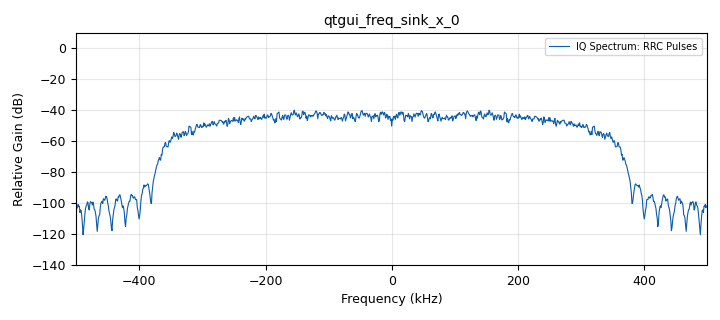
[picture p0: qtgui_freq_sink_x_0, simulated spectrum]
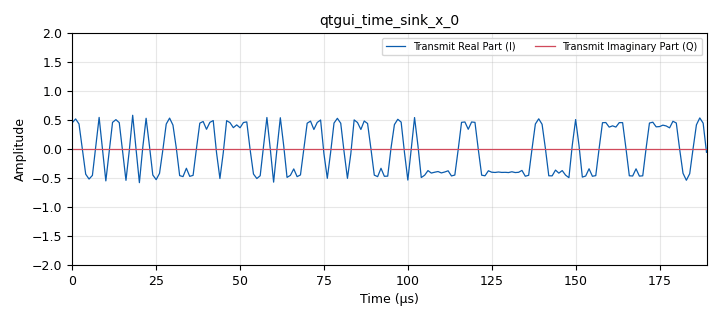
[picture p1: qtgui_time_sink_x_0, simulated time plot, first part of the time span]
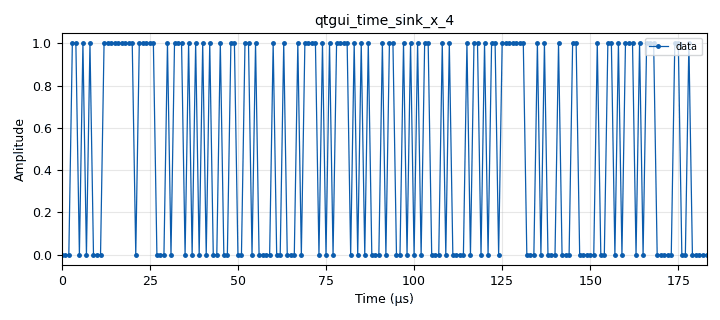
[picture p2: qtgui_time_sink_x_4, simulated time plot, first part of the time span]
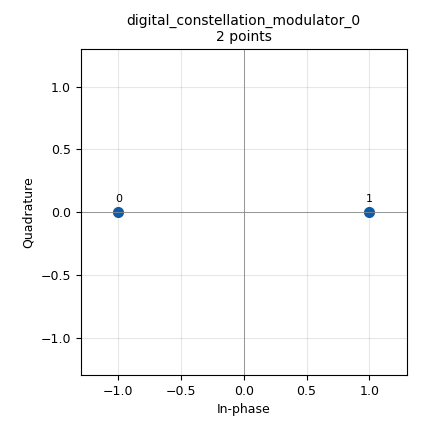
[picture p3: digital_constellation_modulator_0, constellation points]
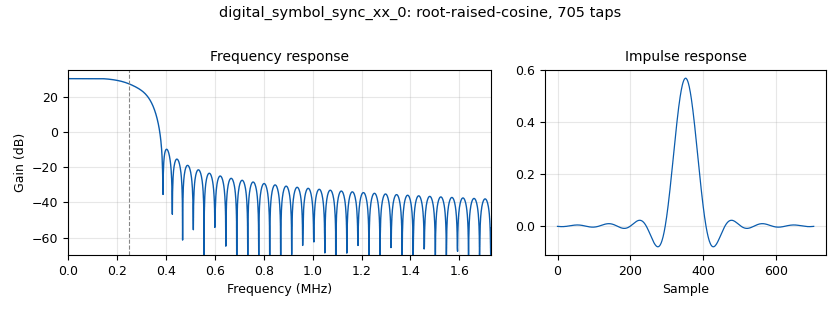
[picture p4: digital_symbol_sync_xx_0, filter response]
options:
  parameters:
    author: Alex Brisson
    generate_options: qt_gui
    id: usrp_coherent
    output_language: python
    title: ver 1.0
  states: {}

blocks:
- name: alpha
  id: variable
  parameters:
    comment: |-
      excess bw- rrc filtering
      - global
    value: '0.5'
  states: {}
- name: center_freq
  id: variable
  parameters:
    comment: |-
      transmit and receive 
      carrier frequency - global
    value: 10e6
  states: {}
- name: constellation
  id: variable_constellation
  parameters:
    comment: Define the modulation format
    const_points: '[-1-1j, -1+1j, 1+1j, 1-1j]'
    dims: '1'
    normalization: digital.constellation.AMPLITUDE_NORMALIZATION
    precision: '8'
    rot_sym: '4'
    sym_map: '[0, 1, 3, 2]'
    type: calcdist
  states: {state: disabled}
- name: constellation
  id: variable_constellation
  parameters:
    precision: '8'
    type: bpsk
  states: {}
- name: constellation
  id: variable_constellation
  parameters:
    precision: '8'
    type: 8psk
  states: {state: disabled}
- name: constellation
  id: variable_constellation
  parameters:
    precision: '8'
    type: 16qam
  states: {state: disabled}
- name: costaslpbw
  id: variable_qtgui_range
  parameters:
    start: '.01'
    step: '.01'
    stop: '1'
    value: '62.8e-3'
  states: {}
- name: dampfact
  id: variable_qtgui_range
  parameters:
    start: '.01'
    step: '.01'
    stop: '5'
    value: '1'
  states: {}
- name: loopbw
  id: variable_qtgui_range
  parameters:
    start: '0.001'
    step: '.01'
    stop: '5'
    value: '.045'
  states: {}
- name: maxdev
  id: variable_qtgui_range
  parameters:
    start: '.01'
    step: '.01'
    stop: '5'
    value: '1.5'
  states: {}
- name: nfilts
  id: variable
  parameters:
    value: '32'
  states: {}
- name: offset
  id: variable_qtgui_range
  parameters:
    comment: Manual frequency slider
    gui_hint: 0,0,1,2
    start: '-500e3'
    step: '100'
    stop: 500e3
    value: '0'
  states: {}
- name: rrc_taps
  id: variable_rrc_filter_taps
  parameters:
    alpha: alpha
    gain: nfilts
    ntaps: 11*sps*nfilts
    samp_rate: samp_rate*nfilts
    sym_rate: samp_rate/sps
  states: {}
- name: samp_rate
  id: variable
  parameters:
    comment: |-
      baseband sample 
      rate - global
    value: 1e6
  states: {}
- name: sps
  id: variable
  parameters:
    comment: power of 2 - global
    value: '2'
  states: {}
- name: tedgain
  id: variable_qtgui_range
  parameters:
    start: '0'
    step: '.01'
    stop: '5'
    value: '1'
  states: {}
- name: analog_agc_xx_0
  id: analog_agc_xx
  parameters:
    comment: |-
      Automatic Gain Control- 
      sets and maintains the 
      reference power level.
    gain: '1.0'
    max_gain: '8'
    rate: '1e-4'
    reference: '.95'
    type: complex
  states: {}
- name: analog_random_uniform_source_x_0
  id: analog_random_uniform_source_x
  parameters:
    comment: |-
      Generates random integers
      packed into bytes
    maximum: 'constellation.arity() '
    minimum: '0'
    seed: '0'
    type: byte
  states: {}
- name: analog_sig_source_x_0
  id: analog_sig_source_x
  parameters:
    amp: '1'
    comment: |-
      Manual Coarse Freq Correction- 
      use slider to multiply received 
      signal by a complex exponential.
    freq: offset
    offset: '0'
    phase: '0'
    samp_rate: samp_rate
    type: complex
    waveform: analog.GR_COS_WAVE
  states: {state: disabled}
- name: blocks_char_to_float_0
  id: blocks_char_to_float
  parameters:
    scale: '1'
  states: {}
- name: blocks_multiply_const_vxx_0
  id: blocks_multiply_const_vxx
  parameters:
    comment: |-
      constant multiplier to 
      maintain usrp input bounds.
    const: '0.4'
    type: complex
  states: {}
- name: blocks_multiply_xx_0
  id: blocks_multiply_xx
  parameters:
    type: complex
  states: {state: disabled}
- name: blocks_unpacked_to_packed_xx_0
  id: blocks_unpacked_to_packed_xx
  parameters:
    bits_per_chunk: int(log2(constellation.arity()))
    comment: |-
      Each integer from the RUS is converted into a byte. 
      This block packs the last bits in each integer byte 
      into a new "packed" byte to be transmitted.
    endianness: gr.GR_MSB_FIRST
    type: byte
  states: {}
- name: compensatedeye
  id: qtgui_tab_widget
  parameters:
    gui_hint: 2,0,1,1
    label0: Compensated Eye
    num_tabs: '1'
  states: {}
- name: compensatedtime
  id: qtgui_tab_widget
  parameters:
    gui_hint: 2,1,1,1
    label0: Time Domain After Fine DSP Compensation
    num_tabs: '1'
  states: {}
- name: diagnostics
  id: qtgui_tab_widget
  parameters:
    gui_hint: 3,1,1,1
    label0: FLL Frequency
    label1: FLL Phase
    label2: FLL Error Signal
    label3: Clock Recv Error Signal
    label4: Clock Recv Timing
    label5: 'Costas Frequency '
    label6: Costas Phase
    label7: Costas Error
    num_tabs: '8'
  states: {}
- name: digital_constellation_modulator_0
  id: digital_constellation_modulator
  parameters:
    comment: |-
      mapping of incoming data
      to complex numbers. This block applies 
      an RRC transmit filter to minimize ISI 
      and efficiently allocate spectrum for our pulses.
    constellation: constellation
    differential: 'False'
    excess_bw: alpha
    samples_per_symbol: sps
  states: {}
- name: digital_costas_loop_cc_0
  id: digital_costas_loop_cc
  parameters:
    comment: |-
      Fine Phase/Frequency error 
      estimate and correction
    order: constellation.arity()
    w: costaslpbw
  states: {}
- name: digital_fll_band_edge_cc_0
  id: digital_fll_band_edge_cc
  parameters:
    comment: |-
      Coarse Frequency Correction
      Loop through implementation 
      of Band-Edge filter.
    filter_size: sps*2+1
    rolloff: alpha
    samps_per_sym: sps
    type: cc
    w: 2*3.14/sps/100
  states: {state: disabled}
- name: digital_symbol_sync_xx_0
  id: digital_symbol_sync_xx
  parameters:
    comment: |-
      Clock Recovery- polyphase FB
      and matched filtering
    damping: dampfact
    loop_bw: loopbw
    max_dev: maxdev
    nfilters: nfilts
    osps: '1'
    pfb_mf_taps: rrc_taps
    resamp_type: digital.IR_PFB_MF
    sps: sps
    ted_gain: tedgain
    ted_type: digital.TED_SIGNAL_TIMES_SLOPE_ML
    type: cc
  states: {}
- name: import_0
  id: import
  parameters:
    imports: from math import log2
  states: {}
- name: qtgui_const_sink_x_0
  id: qtgui_const_sink_x
  parameters:
    autoscale: 'True'
    color1: '"green"'
    color2: '"black"'
    comment: |-
      Constellation Diagram of the symbols
      after clock recovery and fine correction.
    grid: 'True'
    gui_hint: 3,0,1,1
    label1: clock recovery
    label2: costas
    nconnections: '2'
    size: '1024'
    type: complex
  states: {}
- name: qtgui_eye_sink_x_0
  id: qtgui_eye_sink_x
  parameters:
    color2: red
    gui_hint: compensatedeye@0
    label1: clock recovery I
    label2: clock recovery Q
    marker1: '0'
    marker2: '0'
    samp_per_symbol: '1'
    size: '100'
    srate: samp_rate
    type: complex
    ymax: '1.5'
    ymin: '-1.5'
  states: {}
- name: qtgui_eye_sink_x_0_0
  id: qtgui_eye_sink_x
  parameters:
    color2: red
    gui_hint: compensatedeye@0
    label1: costas I
    label2: costas Q
    marker1: '0'
    marker2: '0'
    samp_per_symbol: '1'
    size: '100'
    srate: samp_rate
    type: complex
  states: {}
- name: qtgui_eye_sink_x_0_1
  id: qtgui_eye_sink_x
  parameters:
    color2: red
    comment: |-
      Eye diagram RC pulses before 
      clock recovery
    gui_hint: receive@2
    label1: Received RC Pulse I
    label2: Received RC Pulse Q
    marker1: '0'
    marker2: '0'
    samp_per_symbol: sps
    size: '1024'
    srate: samp_rate
    type: complex
  states: {state: disabled}
- name: qtgui_freq_sink_x_0
  id: qtgui_freq_sink_x
  parameters:
    average: '0.05'
    bw: samp_rate
    comment: Frequency spectrum of transmit RRC pulses
    fc: '0'
    fftsize: '1024'
    grid: 'True'
    gui_hint: transmitter@0
    label1: 'IQ Spectrum: RRC Pulses'
    type: complex
  states: {}
- name: qtgui_freq_sink_x_1
  id: qtgui_freq_sink_x
  parameters:
    average: '0.05'
    bw: samp_rate
    comment: |-
      Averaged Spectrum to view
      convergence of Band Edge FLL
    fc: '0'
    fftsize: '1024'
    grid: 'True'
    gui_hint: receive@0
    label1: Raw
    label2: AGC Manual Freq Correction
    label3: FLL Band-Edge Filter Compensator
    label4: FLL RC Spectrum
    nconnections: '4'
    type: complex
  states: {state: disabled}
- name: qtgui_time_sink_x_0
  id: qtgui_time_sink_x
  parameters:
    comment: Time-Domain Scope of RRC transmit pulses
    grid: 'True'
    gui_hint: transmitter@1
    label1: Transmit Real Part (I)
    label2: Transmit Imaginary Part (Q)
    size: '1024'
    srate: samp_rate
    type: complex
    ymax: '2'
    ymin: '-2'
  states: {}
- name: qtgui_time_sink_x_1
  id: qtgui_time_sink_x
  parameters:
    comment: Time-Domain Scope of Raw data
    grid: 'True'
    gui_hint: receive@1
    label1: Rx Raw (I)
    label2: Rx Raw (Q)
    size: '1024'
    srate: samp_rate
    type: complex
    update_time: '0.1'
  states: {}
- name: qtgui_time_sink_x_2
  id: qtgui_time_sink_x
  parameters:
    comment: |-
      Time-Domain Scope of the symbols
      after fine correction.
    gui_hint: compensatedtime@0
    label1: Costas I
    label2: Costas Q
    marker1: '0'
    marker2: '0'
    size: '400'
    srate: samp_rate
    type: complex
    ymax: '1.5'
    ymin: '-1.5'
  states: {}
- name: qtgui_time_sink_x_2_0
  id: qtgui_time_sink_x
  parameters:
    comment: |-
      Time-Domain Scope of the symbols
      after clock recovery.
    gui_hint: compensatedtime@0
    label1: Clock Recovery I
    label2: Clock Recovery Q
    marker1: '0'
    marker2: '0'
    size: '1024'
    srate: samp_rate
    type: complex
    ymax: '1.5'
    ymin: '-1.5'
  states: {}
- name: qtgui_time_sink_x_3
  id: qtgui_time_sink_x
  parameters:
    comment: |-
      Time-Domain RC Pulses before 
      clock recovery
    grid: 'True'
    gui_hint: receive@3
    label1: Received RC Pulse I
    label2: Received RC Pulse Q
    size: '1024'
    srate: samp_rate
    type: complex
    ymax: '2'
    ymin: '-2'
  states: {state: disabled}
- name: qtgui_time_sink_x_4
  id: qtgui_time_sink_x
  parameters:
    autoscale: 'True'
    grid: 'True'
    gui_hint: transmitter@2
    label1: data
    marker1: '0'
    size: '1024'
    srate: samp_rate
    type: float
  states: {}
- name: qtgui_time_sink_x_5
  id: qtgui_time_sink_x
  parameters:
    gui_hint: diagnostics@3
    label1: clock recovery timing error signal
    size: '1024'
    srate: samp_rate
    type: float
  states: {}
- name: qtgui_time_sink_x_5_0
  id: qtgui_time_sink_x
  parameters:
    autoscale: 'True'
    grid: 'True'
    gui_hint: diagnostics@4
    label1: instantaneous timing
    label2: average timing
    nconnections: '2'
    size: '1024'
    srate: samp_rate
    type: float
  states: {}
- name: qtgui_time_sink_x_5_0_0
  id: qtgui_time_sink_x
  parameters:
    autoscale: 'True'
    grid: 'True'
    gui_hint: diagnostics@6
    label1: costas phase error
    size: int(500e3)
    srate: samp_rate
    type: float
  states: {}
- name: qtgui_time_sink_x_5_0_0_0
  id: qtgui_time_sink_x
  parameters:
    autoscale: 'True'
    grid: 'True'
    gui_hint: diagnostics@1
    label1: FLL phase error
    size: int(500e3)
    srate: samp_rate
    type: float
  states: {state: disabled}
- name: qtgui_time_sink_x_5_0_1
  id: qtgui_time_sink_x
  parameters:
    gui_hint: diagnostics@7
    label1: costas error signal
    size: '1024'
    srate: samp_rate
    type: float
  states: {}
- name: qtgui_time_sink_x_5_0_1_0
  id: qtgui_time_sink_x
  parameters:
    gui_hint: diagnostics@2
    label1: FLL error signal
    size: '1024'
    srate: samp_rate
    type: float
  states: {state: disabled}
- name: qtgui_time_sink_x_5_0_2
  id: qtgui_time_sink_x
  parameters:
    gui_hint: diagnostics@5
    label1: costas frequency error
    size: '1024'
    srate: samp_rate
    type: float
  states: {}
- name: qtgui_time_sink_x_5_0_2_0
  id: qtgui_time_sink_x
  parameters:
    gui_hint: diagnostics@0
    label1: FLL frequency error
    size: '1024'
    srate: samp_rate
    type: float
  states: {state: disabled}
- name: receive
  id: qtgui_tab_widget
  parameters:
    gui_hint: 1,1,1,1
    label0: Receive Spectrum
    label1: Raw Time-Domain Receive Data
    label2: Receive Eye Diagram After FLL and RC Filtering
    label3: Receive Time-Domain After FLL and RC Filtering
    num_tabs: '4'
  states: {}
- name: root_raised_cosine_filter_1
  id: root_raised_cosine_filter
  parameters:
    alpha: alpha
    decim: '1'
    gain: '1'
    ntaps: 11*sps
    samp_rate: samp_rate
    sym_rate: samp_rate/sps
    type: fir_filter_ccf
  states: {state: disabled}
- name: transmitter
  id: qtgui_tab_widget
  parameters:
    gui_hint: 1,0,1,1
    label0: 'RF Spectrum Analyzer: IQ RRC Transmit Pulses'
    label1: 'Oscilloscope: IQ RCC Transmit Pulses'
    label2: Random Generated Integers (data)
    num_tabs: '3'
  states: {}
- name: uhd_usrp_sink_0
  id: uhd_usrp_sink
  parameters:
    ant0: '"TX/RX"'
    center_freq0: center_freq
    comment: USRP Transmiter
    gain0: '0'
    samp_rate: samp_rate
    sync: none
    type: fc32
  states: {}
- name: uhd_usrp_source_0
  id: uhd_usrp_source
  parameters:
    ant0: '"TX/RX"'
    center_freq0: center_freq+10
    comment: USRP Receiver
    gain0: '1'
    samp_rate: samp_rate
    sync: none
    type: fc32
  states: {}

connections:
- [analog_agc_xx_0, '0', blocks_multiply_xx_0, '0']
- [analog_agc_xx_0, '0', digital_symbol_sync_xx_0, '0']
- [analog_random_uniform_source_x_0, '0', blocks_char_to_float_0, '0']
- [analog_random_uniform_source_x_0, '0', blocks_unpacked_to_packed_xx_0, '0']
- [analog_sig_source_x_0, '0', blocks_multiply_xx_0, '1']
- [blocks_char_to_float_0, '0', qtgui_time_sink_x_4, '0']
- [blocks_multiply_const_vxx_0, '0', qtgui_freq_sink_x_0, '0']
- [blocks_multiply_const_vxx_0, '0', qtgui_time_sink_x_0, '0']
- [blocks_multiply_const_vxx_0, '0', uhd_usrp_sink_0, '0']
- [blocks_multiply_xx_0, '0', digital_fll_band_edge_cc_0, '0']
- [blocks_multiply_xx_0, '0', qtgui_freq_sink_x_1, '1']
- [blocks_unpacked_to_packed_xx_0, '0', digital_constellation_modulator_0, '0']
- [digital_constellation_modulator_0, '0', blocks_multiply_const_vxx_0, '0']
- [digital_costas_loop_cc_0, '0', qtgui_const_sink_x_0, '1']
- [digital_costas_loop_cc_0, '0', qtgui_eye_sink_x_0_0, '0']
- [digital_costas_loop_cc_0, '0', qtgui_time_sink_x_2, '0']
- [digital_costas_loop_cc_0, '1', qtgui_time_sink_x_5_0_2, '0']
- [digital_costas_loop_cc_0, '2', qtgui_time_sink_x_5_0_0, '0']
- [digital_costas_loop_cc_0, '3', qtgui_time_sink_x_5_0_1, '0']
- [digital_fll_band_edge_cc_0, '0', digital_symbol_sync_xx_0, '0']
- [digital_fll_band_edge_cc_0, '0', qtgui_freq_sink_x_1, '2']
- [digital_fll_band_edge_cc_0, '0', root_raised_cosine_filter_1, '0']
- [digital_fll_band_edge_cc_0, '1', qtgui_time_sink_x_5_0_2_0, '0']
- [digital_fll_band_edge_cc_0, '2', qtgui_time_sink_x_5_0_0_0, '0']
- [digital_fll_band_edge_cc_0, '3', qtgui_time_sink_x_5_0_1_0, '0']
- [digital_symbol_sync_xx_0, '0', digital_costas_loop_cc_0, '0']
- [digital_symbol_sync_xx_0, '0', qtgui_const_sink_x_0, '0']
- [digital_symbol_sync_xx_0, '0', qtgui_eye_sink_x_0, '0']
- [digital_symbol_sync_xx_0, '0', qtgui_time_sink_x_2_0, '0']
- [digital_symbol_sync_xx_0, '1', qtgui_time_sink_x_5, '0']
- [digital_symbol_sync_xx_0, '2', qtgui_time_sink_x_5_0, '0']
- [digital_symbol_sync_xx_0, '3', qtgui_time_sink_x_5_0, '1']
- [root_raised_cosine_filter_1, '0', qtgui_eye_sink_x_0_1, '0']
- [root_raised_cosine_filter_1, '0', qtgui_freq_sink_x_1, '3']
- [root_raised_cosine_filter_1, '0', qtgui_time_sink_x_3, '0']
- [uhd_usrp_source_0, '0', analog_agc_xx_0, '0']
- [uhd_usrp_source_0, '0', qtgui_freq_sink_x_1, '0']
- [uhd_usrp_source_0, '0', qtgui_time_sink_x_1, '0']

metadata:
  file_format: 1
  grc_version: 3.10.5.1
